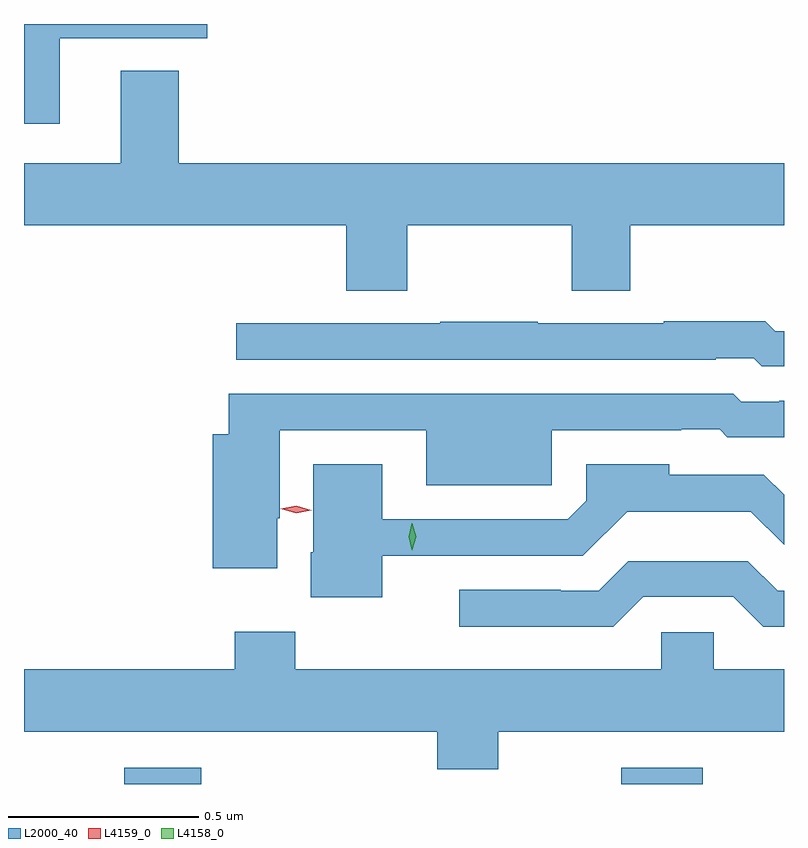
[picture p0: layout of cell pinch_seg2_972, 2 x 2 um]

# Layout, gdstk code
import gdstk
lib = gdstk.Library(unit=1e-6, precision=1e-09)
def R(c, l, rs):  # rectangles x0, y0, x1, y1
    for r in rs: c.add(gdstk.rectangle(r[:2], r[2:], *l))
def P(c, l, *ps):  # polygons
    for p in ps: c.add(gdstk.Polygon(p, *l))
L2000_40 = (2000, 40)
L4158_0 = (4158, 0)
L4159_0 = (4159, 0)

pinch_seg2_972 = lib.new_cell('pinch_seg2_972')
R(pinch_seg2_972, L2000_40, [(369.315,659.486,369.517,659.529), (370.623,659.486,370.837,659.529)])
P(pinch_seg2_972, L2000_40, [(369.145,661.448),(369.533,661.448),(369.533,661.486),(369.051,661.486),(369.051,661.224),(369.145,661.224)],
  [(370.059,660.956),(370.492,660.956),(370.492,660.784),(370.647,660.784),(370.647,660.956),(371.051,660.956),(371.051,661.12),(369.458,661.12),(369.458,661.363),(369.305,661.363),(369.305,661.12),(369.051,661.12),(369.051,660.956),(369.899,660.956),(369.899,660.784),(370.059,660.784)],
  [(371.051,660.678),(371.028,660.678),(371.002,660.704),(370.735,660.704),(370.735,660.699),(370.403,660.699),(370.403,660.702),(370.147,660.702),(370.147,660.699),(369.609,660.699),(369.609,660.603),(370.871,660.603),(370.871,660.606),(370.971,660.606),(370.992,660.585),(371.051,660.585)],
  [(369.718,660.186),(369.724,660.186),(369.724,660.417),(370.109,660.417),(370.109,660.272),(370.44,660.272),(370.44,660.417),(370.781,660.417),(370.781,660.419),(370.882,660.419),(370.902,660.399),(371.051,660.399),(371.051,660.495),(371.038,660.495),(371.038,660.492),(370.938,660.492),(370.917,660.513),(369.59,660.513),(369.59,660.406),(369.548,660.406),(369.548,660.054),(369.718,660.054)],
  [(369.994,660.087),(370.522,660.087),(370.638,660.203),(370.963,660.203),(371.051,660.115),(371.051,660.247),(370.998,660.3),(370.749,660.3),(370.749,660.328),(370.53,660.328),(370.53,660.231),(370.482,660.183),(369.994,660.183),(369.994,660.328),(369.812,660.328),(369.812,660.096),(369.806,660.096),(369.806,659.978),(369.994,659.978)],
  [(370.68,659.979),(370.917,659.979),(370.996,659.9),(371.051,659.9),(371.051,659.994),(371.034,659.994),(370.956,660.072),(370.641,660.072),(370.563,659.994),(370.463,659.994),(370.463,659.997),(370.197,659.997),(370.197,659.9),(370.601,659.9)],
  [(370.299,659.624),(371.051,659.624),(371.051,659.788),(370.866,659.788),(370.866,659.886),(370.728,659.886),(370.728,659.788),(369.765,659.788),(369.765,659.887),(369.605,659.887),(369.605,659.788),(369.051,659.788),(369.051,659.624),(370.139,659.624),(370.139,659.525),(370.299,659.525)])
P(pinch_seg2_972, L4158_0, [(370.073,660.101),(370.072,660.102),(370.063,660.137),(370.072,660.172),(370.073,660.172),(370.073,660.172),(370.083,660.137),(370.073,660.102)])
P(pinch_seg2_972, L4159_0, [(369.767,660.198),(369.727,660.21),(369.727,660.21),(369.727,660.21),(369.768,660.218),(369.807,660.206),(369.808,660.206),(369.807,660.206)])

lib.write_gds('pinch_seg2_972.gds')
